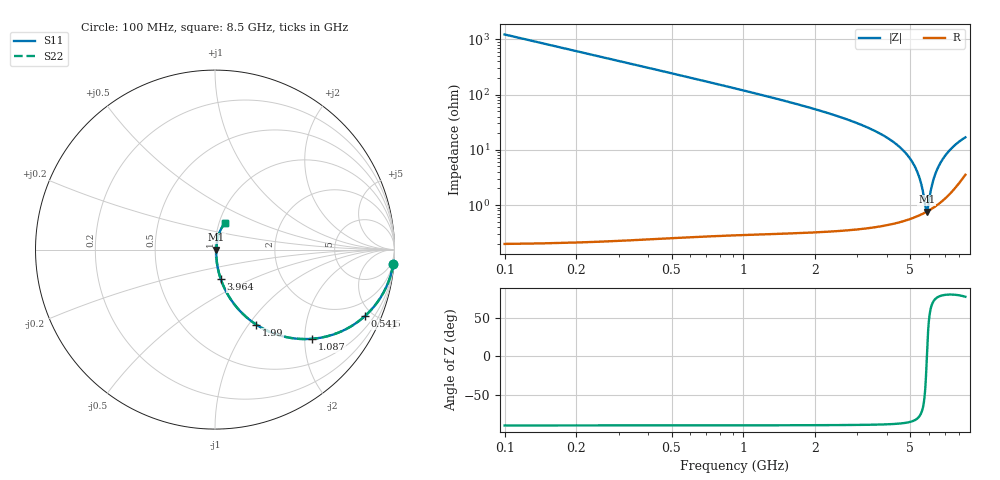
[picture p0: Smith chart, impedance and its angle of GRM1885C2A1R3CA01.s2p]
!Murata Part Number: GRM1885C2A1R3CA01
!These Parameters are Measured in Series Mode Connection
!Data Generated on Mar 30, 2021
!  o--ll--o
!Port1  Port2
!  o------o
!Operation Temp=25[degC], DC Bias Voltage=0[V]
!Freq. Start=100[MHz] Stop=9[GHz] 401[Steps]
# Hz S RI R 50
!Freq.(Hz) S11(Real) S11(Imag) S21(Real) S21(Imag) S12(Real) S12(Imag) S22(Real) S22(Imag)
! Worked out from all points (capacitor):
!   401 points, 100 MHz to 8.5 GHz, reference 50 ohm
!   read as one part in series: C = 1.3 pF near 142 MHz
!   lowest |Z| = 762 mohm at 5.854 GHz (marker M1)
!   series resonance near 5.862 GHz, so ESL is about 570 pH
!   S11 on the Smith chart (normalised r, x): 100 MHz: 1, -24; 541 MHz: 1.01, -4.49; 1.087 GHz: 1.01, -2.18; 1.99 GHz: 1.01, -1.09; 3.964 GHz: 1.01, -0.34; 8.5 GHz: 1.07, +0.33
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1e8  0.9934 -0.0812  0.00664 0.0812  0.00664 0.0812  0.9934 -0.0812
2.89e8  0.9469 -0.224  0.0531 0.224  0.0531 0.224  0.9469 -0.224
5.41e8  0.834 -0.3715  0.166 0.3715  0.166 0.3715  0.834 -0.3715
1.087e9  0.542 -0.4969  0.458 0.4969  0.458 0.4969  0.542 -0.4969
1.507e9  0.3664 -0.4798  0.6336 0.4798  0.6336 0.4798  0.3664 -0.4798
1.99e9  0.2307 -0.4184  0.7693 0.4184  0.7693 0.4184  0.2307 -0.4184
2.914e9  0.0945 -0.287  0.9055 0.287  0.9055 0.287  0.0945 -0.287
3.964e9  0.0319 -0.1634  0.9681 0.1634  0.9681 0.1634  0.0319 -0.1634
4.3e9  0.0219 -0.1298  0.9781 0.1298  0.9781 0.1298  0.0219 -0.1298
4.825e9  0.0121 -0.0819  0.9879 0.0819  0.9879 0.0819  0.0121 -0.0819
5.224e9  0.00838 -0.0486  0.9916 0.0486  0.9916 0.0486  0.00838 -0.0486
5.497e9  0.00733 -0.0272  0.9927 0.0272  0.9927 0.0272  0.00733 -0.0272
5.707e9  0.00725 -0.0113  0.9928 0.0113  0.9928 0.0113  0.00725 -0.0113
5.791e9  0.00738 -0.00515  0.9926 0.00515  0.9926 0.00515  0.00738 -0.00515
5.854e9  0.00754 -0.000569  0.9925 0.000569  0.9925 0.000569  0.00754 -0.000569
5.917e9  0.00775 0.00396  0.9922 -0.00396  0.9922 -0.00396  0.00775 0.00396
6.148e9  0.00894 0.0202  0.9911 -0.0202  0.9911 -0.0202  0.00894 0.0202
6.358e9  0.0106 0.0345  0.9894 -0.0345  0.9894 -0.0345  0.0106 0.0345
6.673e9  0.014 0.0551  0.986 -0.0551  0.986 -0.0551  0.014 0.0551
7.114e9  0.0208 0.0822  0.9792 -0.0822  0.9792 -0.0822  0.0208 0.0822
7.744e9  0.0348 0.1171  0.9652 -0.1171  0.9652 -0.1171  0.0348 0.1171
8.5e9  0.0581 0.1498  0.9419 -0.1498  0.9419 -0.1498  0.0581 0.1498
